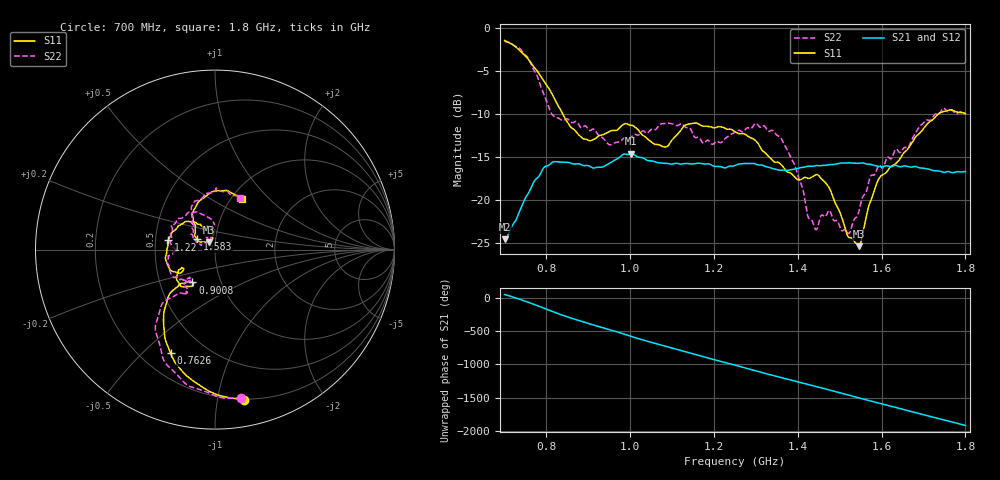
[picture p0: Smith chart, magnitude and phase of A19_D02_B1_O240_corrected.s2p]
! Created with skrf 1.9.0 (http://scikit-rf.org).
# Hz S RI R 50.0
!freq ReS11 ImS11 ReS21 ImS21 ReS12 ImS12 ReS22 ImS22
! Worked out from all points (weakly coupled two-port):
!   1601 points, 700 MHz to 1.8 GHz, reference 50 ohm
!   highest |S21| = -14.60 dB at 1.002 GHz (marker M1); lowest = -24.6 dB at 700 MHz (marker M2)
!   lowest |S11| = -25.4 dB at 1.546 GHz (marker M3), VSWR 1.11, Z = 46.5 + j3.85 ohm
!   |S11| at or under -10 dB: 839 MHz to 1.734 GHz (895.4 MHz wide, 69.6 % of centre)
!   |S22| runs from -23.9 to -1.5 dB; largest |S21 - S12| = 0.0034
!   S11 on the Smith chart (normalised r, x): 700 MHz: 0.20, -1.19; 762.6 MHz: 0.32, -0.61; 900.8 MHz: 0.73, -0.28; 1.22 GHz: 0.58, +0.07; 1.583 GHz: 0.81, +0.09; 1.8 GHz: 1.12, +0.70
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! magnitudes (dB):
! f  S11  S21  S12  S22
! 700 MHz  -1.4  -24.6  -24.4  -1.5
! 762.6 MHz  -4.0  -18.7  -18.6  -4.1
! 814.8 MHz  -7.8  -15.6  -15.7  -10.1
! 883.6 MHz  -12.7  -15.9  -15.8  -11.6
! 900.8 MHz  -13.1  -16.0  -16.0  -11.8
! 951.6 MHz  -12.0  -15.7  -15.7  -13.6
! 1.002 GHz  -11.3  -14.6  -14.7  -12.7
! 1.067 GHz  -13.6  -15.7  -15.6  -11.4
! 1.138 GHz  -11.2  -15.8  -15.7  -11.6
! 1.22 GHz  -11.5  -16.2  -16.2  -13.2
! 1.25 GHz  -12.1  -16.0  -15.9  -12.1
! 1.3 GHz  -13.1  -15.8  -15.8  -11.1
! 1.359 GHz  -15.8  -16.5  -16.5  -12.7
! 1.394 GHz  -17.4  -16.4  -16.4  -16.1
! 1.434 GHz  -17.3  -16.1  -16.0  -22.4
! 1.473 GHz  -18.4  -15.9  -15.9  -21.3
! 1.521 GHz  -24.3  -15.7  -15.7  -23.9
! 1.546 GHz  -25.4  -15.7  -15.7  -21.4
! 1.583 GHz  -18.8  -16.0  -16.0  -17.0
! 1.617 GHz  -16.4  -16.1  -16.0  -15.0
! 1.737 GHz  -9.9  -16.6  -16.7  -10.0
! 1.8 GHz  -9.9  -16.7  -16.7  -9.9
